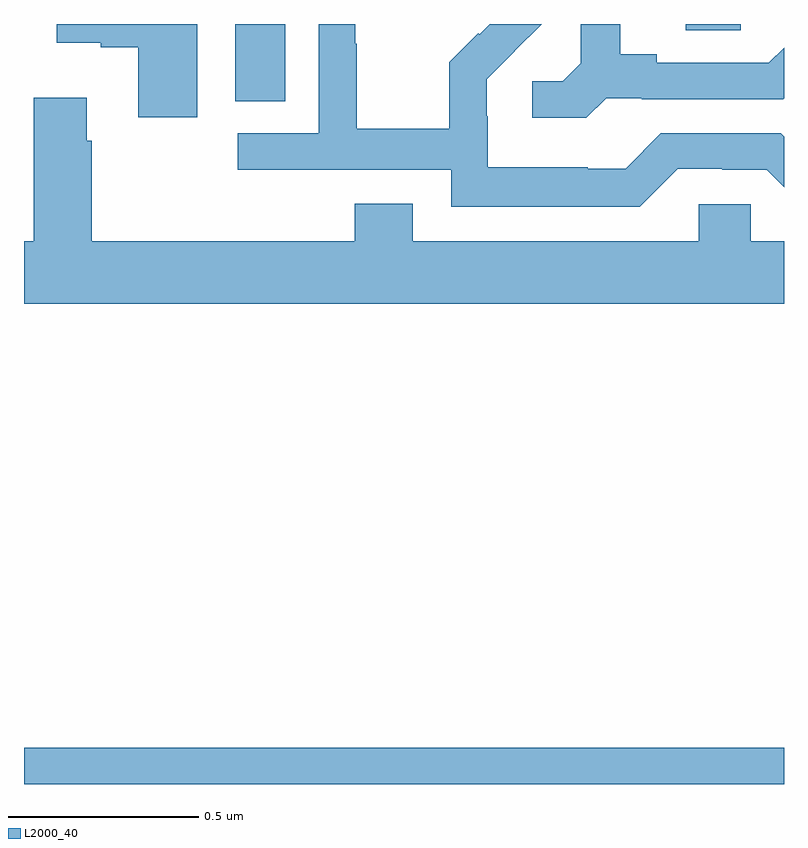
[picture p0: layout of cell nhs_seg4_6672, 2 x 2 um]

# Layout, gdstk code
import gdstk
lib = gdstk.Library(unit=1e-6, precision=1e-09)
def R(c, l, rs):  # rectangles x0, y0, x1, y1
    for r in rs: c.add(gdstk.rectangle(r[:2], r[2:], *l))
def P(c, l, *ps):  # polygons
    for p in ps: c.add(gdstk.Polygon(p, *l))
L2000_40 = (2000, 40)

nhs_seg4_6672 = lib.new_cell('nhs_seg4_6672')
R(nhs_seg4_6672, L2000_40, [(193,784.9,195,784.996), (193.556,786.697,193.687,786.9), (194.741,786.883,194.886,786.9)])
P(nhs_seg4_6672, L2000_40, [(193.456,786.9),(193.086,786.9),(193.086,786.851),(193.202,786.851),(193.202,786.839),(193.301,786.839),(193.301,786.654),(193.456,786.654)],
  [(194.532,786.705),(194.626,786.705),(194.626,786.702),(194.998,786.702),(195,786.704),(195,786.838),(194.96,786.798),(194.665,786.798),(194.665,786.821),(194.569,786.821),(194.569,786.9),(194.465,786.9),(194.465,786.797),(194.418,786.75),(194.337,786.75),(194.337,786.653),(194.48,786.653)],
  [(194.721,786.519),(194.837,786.519),(194.837,786.516),(194.955,786.516),(195,786.471),(195,786.603),(194.991,786.612),(194.676,786.612),(194.583,786.519),(194.483,786.519),(194.483,786.523),(194.22,786.523),(194.22,786.657),(194.218,786.657),(194.218,786.754),(194.292,786.828),(194.291,786.829),(194.362,786.9),(194.226,786.9),(194.199,786.873),(194.196,786.876),(194.119,786.799),(194.119,786.625),(193.875,786.625),(193.875,786.848),(193.872,786.848),(193.872,786.9),(193.776,786.9),(193.776,786.612),(193.563,786.612),(193.563,786.516),(194.124,786.516),(194.124,786.419),(194.621,786.419)],
  [(195,786.328),(194.913,786.328),(194.913,786.426),(194.775,786.426),(194.775,786.328),(194.023,786.328),(194.023,786.427),(193.871,786.427),(193.871,786.328),(193.178,786.328),(193.178,786.593),(193.165,786.593),(193.165,786.706),(193.025,786.706),(193.025,786.328),(193,786.328),(193,786.164),(195,786.164)])

lib.write_gds('nhs_seg4_6672.gds')
